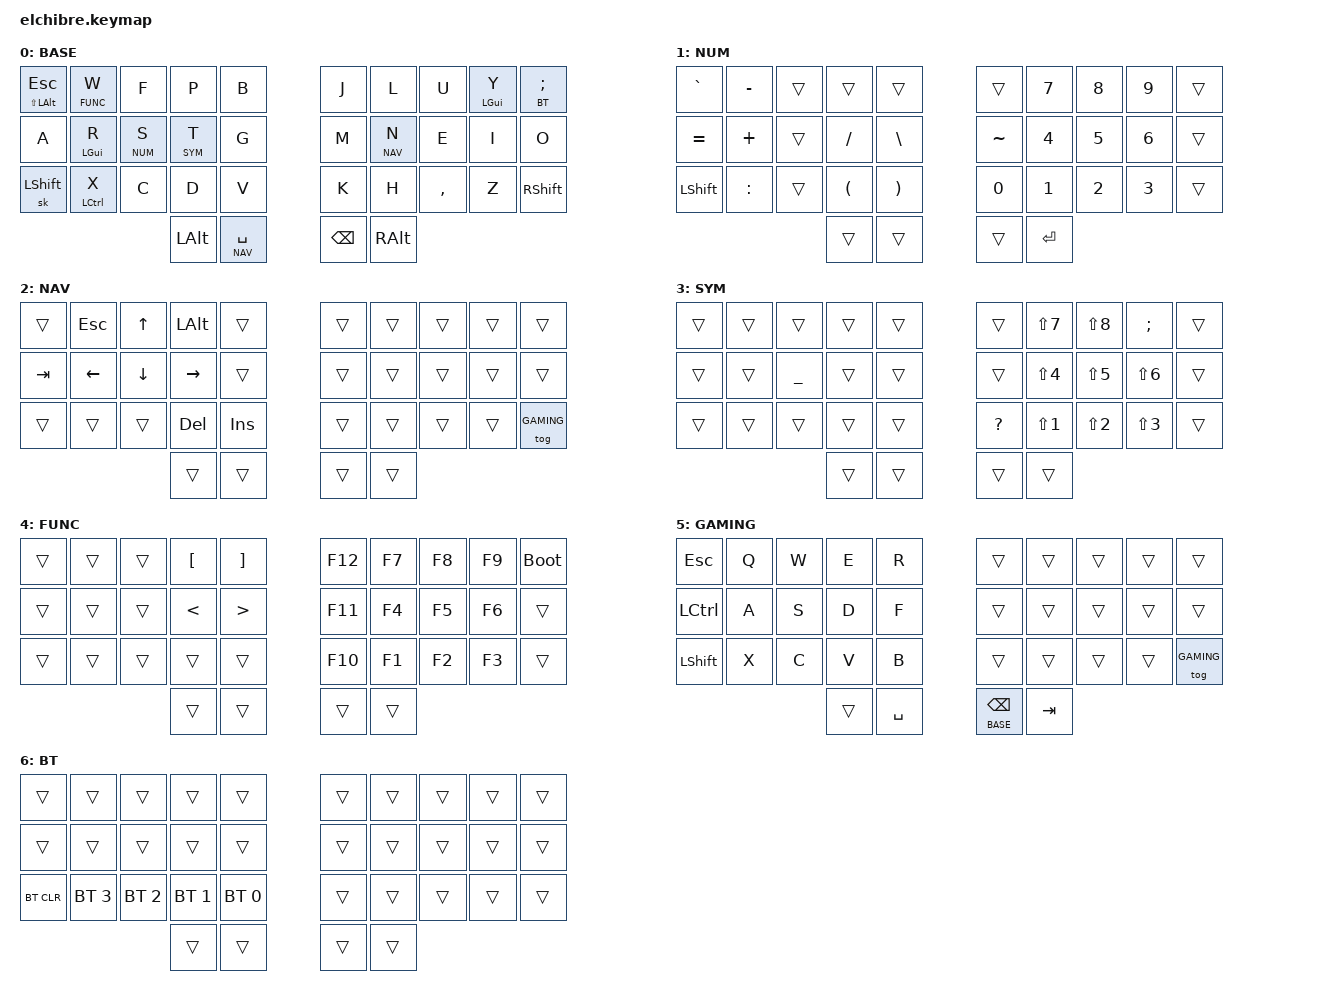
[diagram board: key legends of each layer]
#include <behaviors.dtsi>
#include <dt-bindings/zmk/bt.h>
#include <dt-bindings/zmk/keys.h>
#include <dt-bindings/zmk/outputs.h>


#define BASE 0
#define NUM 1
#define NAV 2
#define SYM 3
#define FUNC 4
#define GAMING 5
#define BT 6

&lt {
    tapping-term-ms = <120>;
    flavor = "balanced";
};

&mt {
    tapping-term-ms = <120>;
    flavor = "balanced";
};



/ {
    combos {
        compatible = "zmk,combos";
        combo_q {
            timeout-ms = <50>;
            key-positions = <1 2>;
            bindings = <&kp Q>;
        };
        combo_enter {
            timeout-ms = <50>;
            key-positions = <13 14>;
            bindings = <&kp ENTER>;
        };
        combo_ae {
            timeout-ms = <50>;
            key-positions = <2 11>;
            bindings = <&kp RA(Q)>;
        };
        combo_oe {
            timeout-ms = <50>;
            key-positions = <2 13>;
            bindings = <&kp RA(P)>;
        };
        combo_ue {
            timeout-ms = <50>;
            key-positions = <7 16>;
            bindings = <&kp RA(Y)>;
        };
        combo_ss {
            timeout-ms = <50>;
            key-positions = <7 18>;
            bindings = <&kp RA(S)>;
        };
        combo_quot {
            timeout-ms = <50>;
            key-positions = <6 7>;
            bindings = <&kp SQT>;
        };
        combo_dot {
            timeout-ms = <50>;
            key-positions = <27 28>;
            bindings = <&kp DOT>;
        };
        combo_ctrl {
            timeout-ms = <50>;
            key-positions = <21 22>;
            bindings = <&sk LCTRL>;
        };
        combo_alt{
            timeout-ms = <50>;
            key-positions = <7 8>;
            bindings = <&sk LALT>;
        };
    };
};

/ {
    keymap {
        compatible = "zmk,keymap";

        BASE {
            bindings = <
                &mt LS(LALT) ESC   &lt FUNC W    &kp F      &kp P      &kp B     &kp J &kp L      &kp U     &mt LGUI Y    &lt BT SEMI
                &kp A              &mt LGUI R    &lt NUM S  &lt SYM T  &kp G     &kp M &lt NAV N &kp E     &kp I         &kp O
                &sk LSHFT          &mt LCTRL X   &kp C      &kp D      &kp V     &kp K &kp H      &kp COMMA &kp Z         &kp RSHFT 
                                   &kp LALT         &lt NAV SPACE   &kp BACKSPACE       &kp RALT
            >;
        };

        NUM {
            bindings = <
                &kp GRAVE          &kp MINUS  &trans     &trans        &trans         &trans       &kp N7      &kp N8     &kp N9    &trans
                &kp EQUAL          &kp PLUS   &trans     &kp FSLH      &kp BSLH       &kp TILDE    &kp N4      &kp N5     &kp N6    &trans
                &kp LSHFT          &kp COLON  &trans     &kp LPAR      &kp RPAR       &kp N0       &kp N1      &kp N2     &kp N3    &trans 
                                                         &trans         &trans     &trans       &kp RET
            >;
        };

        NAV {
            bindings = <
                &trans  &kp ESC  &kp UP   &kp LALT  &trans  &trans &trans &trans &trans &trans 
                &kp TAB &kp LEFT &kp DOWN &kp RIGHT &trans  &trans &trans &trans &trans &trans
                &trans  &trans   &trans   &kp DEL   &kp INS &trans &trans &trans &trans &tog GAMING 
                                   &trans         &trans     &trans       &trans
            >;
        };

        SYM {
            bindings = <
                &trans &trans &trans &trans &trans &trans &kp LS(N7) &kp LS(N8) &kp SEMI   &trans
                &trans &trans &kp UNDER &trans &trans &trans &kp LS(N4) &kp LS(N5) &kp LS(N6) &trans
                &trans &trans &trans &trans &trans &kp QMARK &kp LS(N1) &kp LS(N2) &kp LS(N3) &trans
                                   &trans         &trans     &trans       &trans
            >;
        };

        

        FUNC {
            bindings = <
                &trans &trans &trans &kp LBKT &kp RBKT    &kp F12 &kp F7 &kp F8 &kp F9 &bootloader 
                &trans &trans &trans &kp LT &kp GT        &kp F11 &kp F4 &kp F5 &kp F6 &trans
                &trans &trans &trans &trans &trans        &kp F10 &kp F1 &kp F2 &kp F3 &trans
                                   &trans         &trans     &trans       &trans
            >;
        };
        GAMING {
            bindings = <
                &kp ESC  &kp Q  &kp W   &kp E  &kp R    &trans &trans &trans &trans &trans 
                &kp LCTRL &kp A &kp S   &kp D  &kp F       &trans &trans &trans &trans &trans
                &kp LSHFT  &kp X   &kp C      &kp V  &kp B    &trans &trans &trans &trans &tog GAMING 
                                   &trans         &kp SPACE     &lt BASE BACKSPACE       &kp TAB
            >;
        };
        BT {
            bindings = <
                  &trans &trans &trans &trans &trans  &trans  &trans &trans &trans &trans
                  &trans &trans &trans &trans &trans  &trans &trans &trans &trans &trans
                  &bt BT_CLR &bt BT_SEL 3 &bt BT_SEL 2 &bt BT_SEL 1 &bt BT_SEL 0  &trans &trans &trans &trans &trans
                                   &trans         &trans     &trans       &trans
            >;
        };

    };
};
